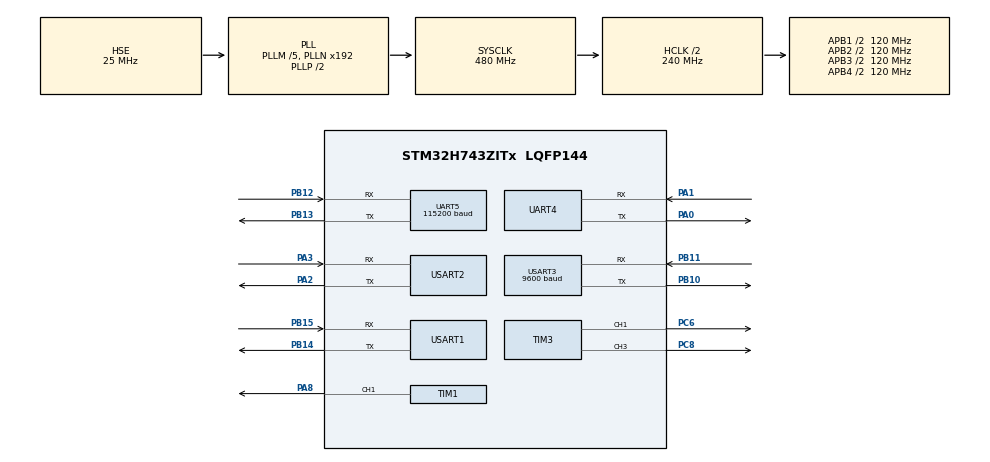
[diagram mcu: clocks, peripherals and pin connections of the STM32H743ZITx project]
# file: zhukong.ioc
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CORTEX_M7.default_mode_Activation=1
Mcu.Family=STM32H7
Mcu.Name=STM32H743ZITx
Mcu.Package=LQFP144
PB12.Mode=Asynchronous
PB12.Signal=UART5_RX
PB13.Mode=Asynchronous
PB13.Signal=UART5_TX
UART5.BaudRate=115200
UART5.VirtualMode-Asynchronous=VM_ASYNC
NVIC.UART5_IRQn=true\:5\:0\:false\:false\:true\:true\:true\:true
NVIC.PriorityGroup=NVIC_PRIORITYGROUP_4
PA0.Mode=Asynchronous
PA0.Signal=UART4_TX
PA1.Mode=Asynchronous
PA1.Signal=UART4_RX
PA13\ (JTMS/SWDIO).Mode=Serial_Wire
PA13\ (JTMS/SWDIO).Signal=DEBUG_JTMS-SWDIO
PA14\ (JTCK/SWCLK).Mode=Serial_Wire
PA14\ (JTCK/SWCLK).Signal=DEBUG_JTCK-SWCLK
PA2.Mode=Asynchronous
PA2.Signal=USART2_TX
PA3.Mode=Asynchronous
PA3.Signal=USART2_RX
PA8.Signal=S_TIM1_CH1
PB10.Mode=Asynchronous
PB10.Signal=USART3_TX
PB11.Mode=Asynchronous
PB11.Signal=USART3_RX
PB14.Mode=Asynchronous
PB14.Signal=USART1_TX
PB15.Mode=Asynchronous
PB15.Signal=USART1_RX
PC6.Signal=S_TIM3_CH1
PC8.Signal=S_TIM3_CH3
PH0-OSC_IN\ (PH0).Mode=HSE-External-Oscillator
PH0-OSC_IN\ (PH0).Signal=RCC_OSC_IN
PH1-OSC_OUT\ (PH1).Mode=HSE-External-Oscillator
PH1-OSC_OUT\ (PH1).Signal=RCC_OSC_OUT
ProjectManager.HeapSize=0x200
ProjectManager.StackSize=0x400
ProjectManager.TargetToolchain=CMake
RCC.ADCFreq_Value=50390625
RCC.APB1Freq_Value=120000000
RCC.APB2Freq_Value=120000000
RCC.APB3Freq_Value=120000000
RCC.APB4Freq_Value=120000000
RCC.CortexFreq_Value=480000000
RCC.D1PPRE=RCC_APB3_DIV2
RCC.D2PPRE1=RCC_APB1_DIV2
RCC.D2PPRE2=RCC_APB2_DIV2
RCC.D3PPRE=RCC_APB4_DIV2
RCC.DIVM1=5
RCC.DIVN1=192
RCC.HCLKFreq_Value=240000000
RCC.HPRE=RCC_HCLK_DIV2
RCC.PLL2FRACN=0
RCC.PLL3FRACN=0
RCC.PLLFRACN=0
RCC.PLLSourceVirtual=RCC_PLLSOURCE_HSE
RCC.SYSCLKFreq_VALUE=480000000
RCC.SYSCLKSource=RCC_SYSCLKSOURCE_PLLCLK
RCC.USBFreq_Value=480000000
SH.S_TIM1_CH1.0=TIM1_CH1,PWM Generation1 CH1
SH.S_TIM3_CH1.0=TIM3_CH1,PWM Generation1 CH1
SH.S_TIM3_CH3.0=TIM3_CH3,PWM Generation3 CH3
TIM1.Channel-PWM\ Generation1\ CH1=TIM_CHANNEL_1
TIM3.Channel-PWM\ Generation1\ CH1=TIM_CHANNEL_1
TIM3.Channel-PWM\ Generation3\ CH3=TIM_CHANNEL_3
USART1.VirtualMode-Asynchronous=VM_ASYNC
USART2.VirtualMode-Asynchronous=VM_ASYNC
USART3.BaudRate=9600
USART3.VirtualMode-Asynchronous=VM_ASYNC
VP_MEMORYMAP_VS_MEMORYMAP.Mode=CurAppReg
board=custom
NVIC.USART3_IRQn=true\:1\:0\:false\:false\:true\:true\:true\:true

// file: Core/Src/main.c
/* USER CODE BEGIN Header */
/**
  ******************************************************************************
  * @file           : main.c
  * @brief          : Main program body
  ******************************************************************************
  * @attention
  *
  * Copyright (c) 2026 STMicroelectronics.
  * All rights reserved.
  *
  * This software is licensed under terms that can be found in the LICENSE file
  * in the root directory of this software component.
  * If no LICENSE file comes with this software, it is provided AS-IS.
  *
  ******************************************************************************
  */
/* USER CODE END Header */
#include "main.h"

/* USER CODE BEGIN Includes */
#include "zdt_motor.h"
#include "robot_control.h"
#include "lift_motor.h"
#include "servo_control.h"
#include "camera_link.h"
#include "imu_link.h"
#include "gyro_turn.h"

/* USER CODE END Includes */

TIM_HandleTypeDef htim1;
TIM_HandleTypeDef htim3;

UART_HandleTypeDef huart4;
UART_HandleTypeDef huart5;
UART_HandleTypeDef huart1;
UART_HandleTypeDef huart2;
UART_HandleTypeDef huart3;

void SystemClock_Config(void);
static void MPU_Config(void);
static void MX_GPIO_Init(void);
static void MX_USART1_UART_Init(void);
static void MX_USART3_UART_Init(void);
static void MX_USART2_UART_Init(void);
static void MX_TIM1_Init(void);
static void MX_TIM3_Init(void);
static void MX_UART4_Init(void);
static void MX_UART5_Init(void);

int main(void)
{

  /* USER CODE BEGIN 1 */
  bool lift_uart_ready = false;
  bool wheel_uart_ready = false;

  /* USER CODE END 1 */

  /* MPU Configuration--------------------------------------------------------*/
  MPU_Config();

  /* MCU Configuration--------------------------------------------------------*/

  /* Reset of all peripherals, Initializes the Flash interface and the Systick. */
  HAL_Init();

  /* Configure the system clock */
  SystemClock_Config();

  /* Initialize all configured peripherals */
  MX_GPIO_Init();
  MX_USART1_UART_Init();
  MX_USART3_UART_Init();
  MX_USART2_UART_Init();
  MX_TIM1_Init();
  MX_TIM3_Init();
  MX_UART4_Init();
  MX_UART5_Init();
  /* USER CODE BEGIN 2 */
  /* 五路串口：USART1 底盘，USART2 机械臂，UART5 接收 ESP32 命令，USART3 接 JY901S，
   * UART4 PA1 接收摄像头坐标。MX 初始化失败会进入 Error_Handler。 */
  wheel_uart_ready = true;
  lift_uart_ready = true;
  ZDT_Motor_Init(wheel_uart_ready ? &huart1 : NULL, true, 20U);
  LiftMotor_Init(lift_uart_ready ? &huart2 : NULL);
  ServoControl_Init();
  RobotControl_Init(&huart5, wheel_uart_ready);
  CameraLink_Init(&huart4);
  ImuLink_Init(&huart3);
  GyroTurn_SafeBoot();
  ImuLink_StartConfiguration();

  /* USER CODE END 2 */

  /* Infinite loop */
  while (1)
  {

    /* USER CODE BEGIN 3 */
    /* 裸机轮询：先解析中断缓存的命令，再处理到位查询、超时和停车重试。
     * 电机应答等待期间 UART5 中断仍能接收，具体命令在主循环继续执行。 */
    RobotControl_Process();
    RobotControl_Tick();
  }
  /* USER CODE END 3 */
}

void SystemClock_Config(void)
{
  RCC_OscInitTypeDef RCC_OscInitStruct = {0};
  RCC_ClkInitTypeDef RCC_ClkInitStruct = {0};

  /** Supply configuration update enable
  */
  HAL_PWREx_ConfigSupply(PWR_LDO_SUPPLY);

  /** Configure the main internal regulator output voltage
  */
  __HAL_PWR_VOLTAGESCALING_CONFIG(PWR_REGULATOR_VOLTAGE_SCALE0);

  while(!__HAL_PWR_GET_FLAG(PWR_FLAG_VOSRDY)) {}

  /** Initializes the RCC Oscillators according to the specified parameters
  * in the RCC_OscInitTypeDef structure.
  */
  RCC_OscInitStruct.OscillatorType = RCC_OSCILLATORTYPE_HSE;
  RCC_OscInitStruct.HSEState = RCC_HSE_ON;
  RCC_OscInitStruct.PLL.PLLState = RCC_PLL_ON;
  RCC_OscInitStruct.PLL.PLLSource = RCC_PLLSOURCE_HSE;
  RCC_OscInitStruct.PLL.PLLM = 5;
  RCC_OscInitStruct.PLL.PLLN = 192;
  RCC_OscInitStruct.PLL.PLLP = 2;
  RCC_OscInitStruct.PLL.PLLQ = 2;
  RCC_OscInitStruct.PLL.PLLR = 2;
  RCC_OscInitStruct.PLL.PLLRGE = RCC_PLL1VCIRANGE_2;
  RCC_OscInitStruct.PLL.PLLVCOSEL = RCC_PLL1VCOWIDE;
  RCC_OscInitStruct.PLL.PLLFRACN = 0;
  if (HAL_RCC_OscConfig(&RCC_OscInitStruct) != HAL_OK)
  {
    Error_Handler();
  }

  /** Initializes the CPU, AHB and APB buses clocks
  */
  RCC_ClkInitStruct.ClockType = RCC_CLOCKTYPE_HCLK|RCC_CLOCKTYPE_SYSCLK
                              |RCC_CLOCKTYPE_PCLK1|RCC_CLOCKTYPE_PCLK2
                              |RCC_CLOCKTYPE_D3PCLK1|RCC_CLOCKTYPE_D1PCLK1;
  RCC_ClkInitStruct.SYSCLKSource = RCC_SYSCLKSOURCE_PLLCLK;
  RCC_ClkInitStruct.SYSCLKDivider = RCC_SYSCLK_DIV1;
  RCC_ClkInitStruct.AHBCLKDivider = RCC_HCLK_DIV2;
  RCC_ClkInitStruct.APB3CLKDivider = RCC_APB3_DIV2;
  RCC_ClkInitStruct.APB1CLKDivider = RCC_APB1_DIV2;
  RCC_ClkInitStruct.APB2CLKDivider = RCC_APB2_DIV2;
  RCC_ClkInitStruct.APB4CLKDivider = RCC_APB4_DIV2;

  if (HAL_RCC_ClockConfig(&RCC_ClkInitStruct, FLASH_LATENCY_4) != HAL_OK)
  {
    Error_Handler();
  }
}

static void MX_TIM1_Init(void)
{

  TIM_MasterConfigTypeDef sMasterConfig = {0};
  TIM_OC_InitTypeDef sConfigOC = {0};
  TIM_BreakDeadTimeConfigTypeDef sBreakDeadTimeConfig = {0};

  htim1.Instance = TIM1;
  htim1.Init.Prescaler = 0;
  htim1.Init.CounterMode = TIM_COUNTERMODE_UP;
  htim1.Init.Period = 65535;
  htim1.Init.ClockDivision = TIM_CLOCKDIVISION_DIV1;
  htim1.Init.RepetitionCounter = 0;
  htim1.Init.AutoReloadPreload = TIM_AUTORELOAD_PRELOAD_DISABLE;
  if (HAL_TIM_PWM_Init(&htim1) != HAL_OK)
  {
    Error_Handler();
  }
  sMasterConfig.MasterOutputTrigger = TIM_TRGO_RESET;
  sMasterConfig.MasterOutputTrigger2 = TIM_TRGO2_RESET;
  sMasterConfig.MasterSlaveMode = TIM_MASTERSLAVEMODE_DISABLE;
  if (HAL_TIMEx_MasterConfigSynchronization(&htim1, &sMasterConfig) != HAL_OK)
  {
    Error_Handler();
  }
  sConfigOC.OCMode = TIM_OCMODE_PWM1;
  sConfigOC.Pulse = 0;
  sConfigOC.OCPolarity = TIM_OCPOLARITY_HIGH;
  sConfigOC.OCNPolarity = TIM_OCNPOLARITY_HIGH;
  sConfigOC.OCFastMode = TIM_OCFAST_DISABLE;
  sConfigOC.OCIdleState = TIM_OCIDLESTATE_RESET;
  sConfigOC.OCNIdleState = TIM_OCNIDLESTATE_RESET;
  if (HAL_TIM_PWM_ConfigChannel(&htim1, &sConfigOC, TIM_CHANNEL_1) != HAL_OK)
  {
    Error_Handler();
  }
  sBreakDeadTimeConfig.OffStateRunMode = TIM_OSSR_DISABLE;
  sBreakDeadTimeConfig.OffStateIDLEMode = TIM_OSSI_DISABLE;
  sBreakDeadTimeConfig.LockLevel = TIM_LOCKLEVEL_OFF;
  sBreakDeadTimeConfig.DeadTime = 0;
  sBreakDeadTimeConfig.BreakState = TIM_BREAK_DISABLE;
  sBreakDeadTimeConfig.BreakPolarity = TIM_BREAKPOLARITY_HIGH;
  sBreakDeadTimeConfig.BreakFilter = 0;
  sBreakDeadTimeConfig.Break2State = TIM_BREAK2_DISABLE;
  sBreakDeadTimeConfig.Break2Polarity = TIM_BREAK2POLARITY_HIGH;
  sBreakDeadTimeConfig.Break2Filter = 0;
  sBreakDeadTimeConfig.AutomaticOutput = TIM_AUTOMATICOUTPUT_DISABLE;
  if (HAL_TIMEx_ConfigBreakDeadTime(&htim1, &sBreakDeadTimeConfig) != HAL_OK)
  {
    Error_Handler();
  }
  HAL_TIM_MspPostInit(&htim1);

}

static void MX_TIM3_Init(void)
{

  TIM_MasterConfigTypeDef sMasterConfig = {0};
  TIM_OC_InitTypeDef sConfigOC = {0};

  htim3.Instance = TIM3;
  htim3.Init.Prescaler = 0;
  htim3.Init.CounterMode = TIM_COUNTERMODE_UP;
  htim3.Init.Period = 65535;
  htim3.Init.ClockDivision = TIM_CLOCKDIVISION_DIV1;
  htim3.Init.AutoReloadPreload = TIM_AUTORELOAD_PRELOAD_DISABLE;
  if (HAL_TIM_PWM_Init(&htim3) != HAL_OK)
  {
    Error_Handler();
  }
  sMasterConfig.MasterOutputTrigger = TIM_TRGO_RESET;
  sMasterConfig.MasterSlaveMode = TIM_MASTERSLAVEMODE_DISABLE;
  if (HAL_TIMEx_MasterConfigSynchronization(&htim3, &sMasterConfig) != HAL_OK)
  {
    Error_Handler();
  }
  sConfigOC.OCMode = TIM_OCMODE_PWM1;
  sConfigOC.Pulse = 0;
  sConfigOC.OCPolarity = TIM_OCPOLARITY_HIGH;
  sConfigOC.OCFastMode = TIM_OCFAST_DISABLE;
  if (HAL_TIM_PWM_ConfigChannel(&htim3, &sConfigOC, TIM_CHANNEL_1) != HAL_OK)
  {
    Error_Handler();
  }
  if (HAL_TIM_PWM_ConfigChannel(&htim3, &sConfigOC, TIM_CHANNEL_3) != HAL_OK)
  {
    Error_Handler();
  }
  HAL_TIM_MspPostInit(&htim3);

}

HAL_StatusTypeDef ImuLink_SetBaud(UART_HandleTypeDef *uart,uint32_t baud)
{
  if(uart!=&huart3) return HAL_ERROR;
  if(HAL_UART_AbortReceive(uart)!=HAL_OK) return HAL_ERROR;
  uart->Init.BaudRate=baud;
  if(HAL_UART_Init(uart)!=HAL_OK||HAL_UARTEx_DisableFifoMode(uart)!=HAL_OK) return HAL_ERROR;
  __HAL_UART_CLEAR_OREFLAG(uart); __HAL_UART_CLEAR_NEFLAG(uart); __HAL_UART_CLEAR_FEFLAG(uart);
  __HAL_UART_SEND_REQ(uart,UART_RXDATA_FLUSH_REQUEST);
  return HAL_OK;
}

static void MX_UART5_Init(void)
{
  huart5.Instance = UART5;
  huart5.Init.BaudRate = 115200;
  huart5.Init.WordLength = UART_WORDLENGTH_8B;
  huart5.Init.StopBits = UART_STOPBITS_1;
  huart5.Init.Parity = UART_PARITY_NONE;
  huart5.Init.Mode = UART_MODE_TX_RX;
  huart5.Init.HwFlowCtl = UART_HWCONTROL_NONE;
  huart5.Init.OverSampling = UART_OVERSAMPLING_16;
  huart5.Init.OneBitSampling = UART_ONE_BIT_SAMPLE_DISABLE;
  huart5.Init.ClockPrescaler = UART_PRESCALER_DIV1;
  huart5.AdvancedInit.AdvFeatureInit = UART_ADVFEATURE_NO_INIT;
  if (HAL_UART_Init(&huart5) != HAL_OK || HAL_UARTEx_DisableFifoMode(&huart5) != HAL_OK) Error_Handler();
}

static void MX_UART4_Init(void)
{

  huart4.Instance = UART4;
  huart4.Init.BaudRate = 115200;
  huart4.Init.WordLength = UART_WORDLENGTH_8B;
  huart4.Init.StopBits = UART_STOPBITS_1;
  huart4.Init.Parity = UART_PARITY_NONE;
  huart4.Init.Mode = UART_MODE_TX_RX;
  huart4.Init.HwFlowCtl = UART_HWCONTROL_NONE;
  huart4.Init.OverSampling = UART_OVERSAMPLING_16;
  huart4.Init.OneBitSampling = UART_ONE_BIT_SAMPLE_DISABLE;
  huart4.Init.ClockPrescaler = UART_PRESCALER_DIV1;
  huart4.AdvancedInit.AdvFeatureInit = UART_ADVFEATURE_NO_INIT;
  if (HAL_UART_Init(&huart4) != HAL_OK)
  {
    Error_Handler();
  }
  if (HAL_UARTEx_SetTxFifoThreshold(&huart4, UART_TXFIFO_THRESHOLD_1_8) != HAL_OK)
  {
    Error_Handler();
  }
  if (HAL_UARTEx_SetRxFifoThreshold(&huart4, UART_RXFIFO_THRESHOLD_1_8) != HAL_OK)
  {
    Error_Handler();
  }
  if (HAL_UARTEx_DisableFifoMode(&huart4) != HAL_OK)
  {
    Error_Handler();
  }

}

static void MX_USART1_UART_Init(void)
{

  huart1.Instance = USART1;
  huart1.Init.BaudRate = 115200;
  huart1.Init.WordLength = UART_WORDLENGTH_8B;
  huart1.Init.StopBits = UART_STOPBITS_1;
  huart1.Init.Parity = UART_PARITY_NONE;
  huart1.Init.Mode = UART_MODE_TX_RX;
  huart1.Init.HwFlowCtl = UART_HWCONTROL_NONE;
  huart1.Init.OverSampling = UART_OVERSAMPLING_16;
  huart1.Init.OneBitSampling = UART_ONE_BIT_SAMPLE_DISABLE;
  huart1.Init.ClockPrescaler = UART_PRESCALER_DIV1;
  huart1.AdvancedInit.AdvFeatureInit = UART_ADVFEATURE_NO_INIT;
  if (HAL_UART_Init(&huart1) != HAL_OK)
  {
    Error_Handler();
  }
  if (HAL_UARTEx_SetTxFifoThreshold(&huart1, UART_TXFIFO_THRESHOLD_1_8) != HAL_OK)
  {
    Error_Handler();
  }
  if (HAL_UARTEx_SetRxFifoThreshold(&huart1, UART_RXFIFO_THRESHOLD_1_8) != HAL_OK)
  {
    Error_Handler();
  }
  if (HAL_UARTEx_DisableFifoMode(&huart1) != HAL_OK)
  {
    Error_Handler();
  }

}

static void MX_USART2_UART_Init(void)
{

  huart2.Instance = USART2;
  huart2.Init.BaudRate = 115200;
  huart2.Init.WordLength = UART_WORDLENGTH_8B;
  huart2.Init.StopBits = UART_STOPBITS_1;
  huart2.Init.Parity = UART_PARITY_NONE;
  huart2.Init.Mode = UART_MODE_TX_RX;
  huart2.Init.HwFlowCtl = UART_HWCONTROL_NONE;
  huart2.Init.OverSampling = UART_OVERSAMPLING_16;
  huart2.Init.OneBitSampling = UART_ONE_BIT_SAMPLE_DISABLE;
  huart2.Init.ClockPrescaler = UART_PRESCALER_DIV1;
  huart2.AdvancedInit.AdvFeatureInit = UART_ADVFEATURE_NO_INIT;
  if (HAL_UART_Init(&huart2) != HAL_OK)
  {
    Error_Handler();
  }
  if (HAL_UARTEx_SetTxFifoThreshold(&huart2, UART_TXFIFO_THRESHOLD_1_8) != HAL_OK)
  {
    Error_Handler();
  }
  if (HAL_UARTEx_SetRxFifoThreshold(&huart2, UART_RXFIFO_THRESHOLD_1_8) != HAL_OK)
  {
    Error_Handler();
  }
  if (HAL_UARTEx_DisableFifoMode(&huart2) != HAL_OK)
  {
    Error_Handler();
  }

}

static void MX_USART3_UART_Init(void)
{

  huart3.Instance = USART3;
  huart3.Init.BaudRate = IMU_UART_BAUD_RATE;
  huart3.Init.WordLength = UART_WORDLENGTH_8B;
  huart3.Init.StopBits = UART_STOPBITS_1;
  huart3.Init.Parity = UART_PARITY_NONE;
  huart3.Init.Mode = UART_MODE_TX_RX;
  huart3.Init.HwFlowCtl = UART_HWCONTROL_NONE;
  huart3.Init.OverSampling = UART_OVERSAMPLING_16;
  huart3.Init.OneBitSampling = UART_ONE_BIT_SAMPLE_DISABLE;
  huart3.Init.ClockPrescaler = UART_PRESCALER_DIV1;
  huart3.AdvancedInit.AdvFeatureInit = UART_ADVFEATURE_NO_INIT;
  if (HAL_UART_Init(&huart3) != HAL_OK)
  {
    Error_Handler();
  }
  if (HAL_UARTEx_SetTxFifoThreshold(&huart3, UART_TXFIFO_THRESHOLD_1_8) != HAL_OK)
  {
    Error_Handler();
  }
  if (HAL_UARTEx_SetRxFifoThreshold(&huart3, UART_RXFIFO_THRESHOLD_1_8) != HAL_OK)
  {
    Error_Handler();
  }
  if (HAL_UARTEx_DisableFifoMode(&huart3) != HAL_OK)
  {
    Error_Handler();
  }

}

static void MX_GPIO_Init(void)
{

  /* GPIO Ports Clock Enable */
  __HAL_RCC_GPIOH_CLK_ENABLE();
  __HAL_RCC_GPIOA_CLK_ENABLE();
  __HAL_RCC_GPIOB_CLK_ENABLE();
  __HAL_RCC_GPIOC_CLK_ENABLE();

}

 /* MPU Configuration */

void MPU_Config(void)
{
  MPU_Region_InitTypeDef MPU_InitStruct = {0};

  /* Disables the MPU */
  HAL_MPU_Disable();

  /** Initializes and configures the Region and the memory to be protected
  */
  MPU_InitStruct.Enable = MPU_REGION_ENABLE;
  MPU_InitStruct.Number = MPU_REGION_NUMBER0;
  MPU_InitStruct.BaseAddress = 0x0;
  MPU_InitStruct.Size = MPU_REGION_SIZE_4GB;
  MPU_InitStruct.SubRegionDisable = 0x87;
  MPU_InitStruct.TypeExtField = MPU_TEX_LEVEL0;
  MPU_InitStruct.AccessPermission = MPU_REGION_NO_ACCESS;
  MPU_InitStruct.DisableExec = MPU_INSTRUCTION_ACCESS_DISABLE;
  MPU_InitStruct.IsShareable = MPU_ACCESS_SHAREABLE;
  MPU_InitStruct.IsCacheable = MPU_ACCESS_NOT_CACHEABLE;
  MPU_InitStruct.IsBufferable = MPU_ACCESS_NOT_BUFFERABLE;

  HAL_MPU_ConfigRegion(&MPU_InitStruct);
  /* Enables the MPU */
  HAL_MPU_Enable(MPU_PRIVILEGED_DEFAULT);

}

void Error_Handler(void)
{
  __disable_irq();
  while (1)
  {
  }
}
